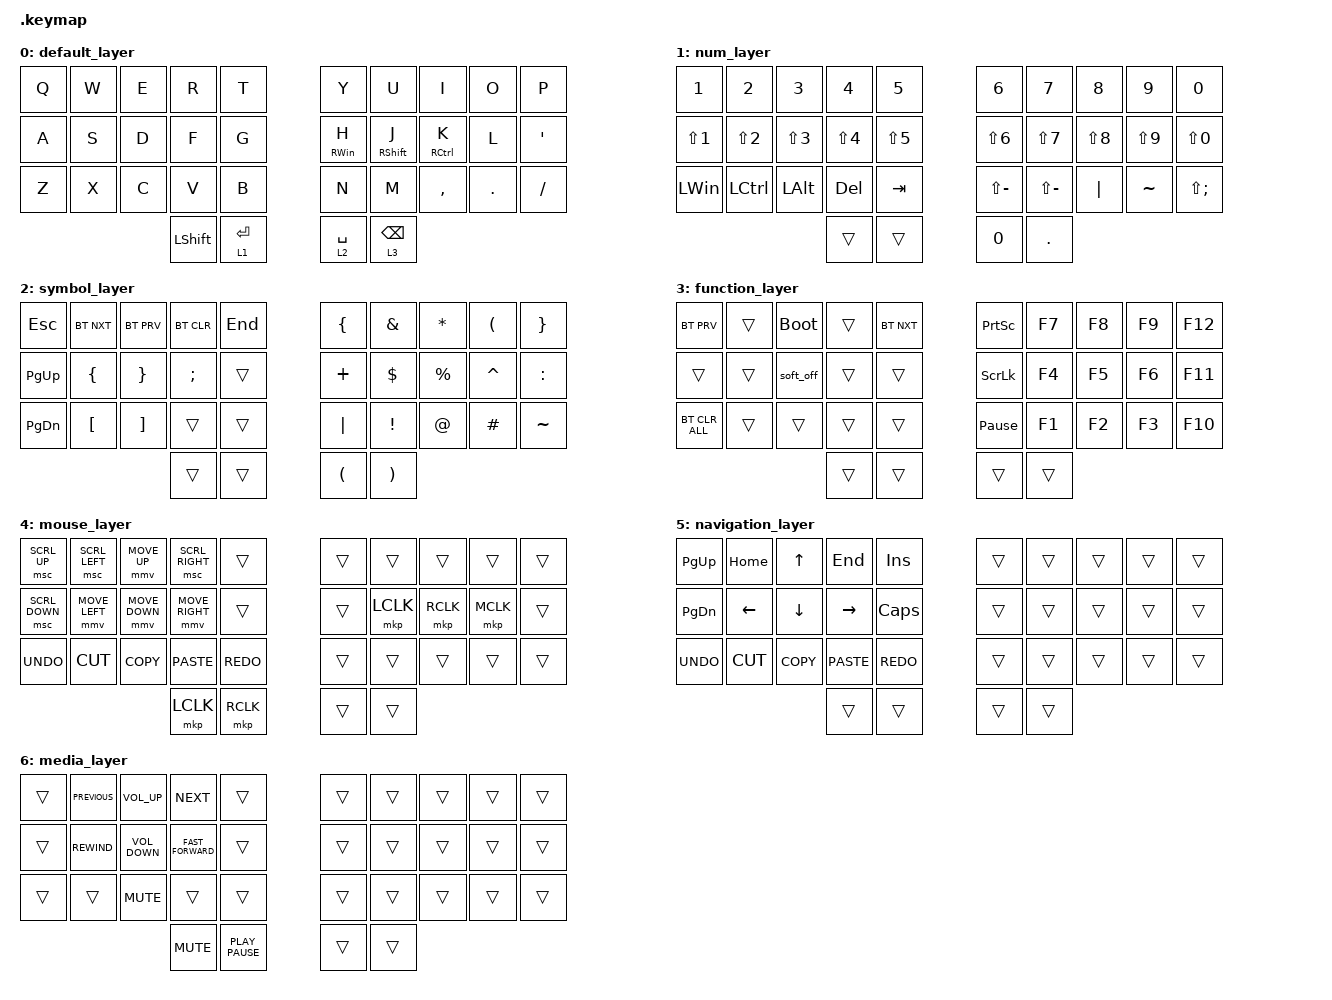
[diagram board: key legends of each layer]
#define ZMK_POINTING_DEFAULT_MOVE_VAL 1200  // default: 600
#define ZMK_POINTING_DEFAULT_SCRL_VAL 20    // default: 10

#include <dt-bindings/zmk/mouse.h>
#include <behaviors.dtsi>
#include <dt-bindings/zmk/bt.h>
#include <dt-bindings/zmk/keys.h>
#include <dt-bindings/zmk/pointing.h>

&mt {
    tapping-term-ms = <120>;
    flavor = "tap-preferred";
};

/ {
    combos {
        compatible = "zmk,combos";

        delete_combo2 {
            bindings = <&kp PRINTSCREEN>;
            key-positions = <9 19>;
            layers = <0>;
        };

        minus_combo {
            bindings = <&kp MINUS>;
            key-positions = <32 33>;
            layers = <1>;
        };

        undo_combo {
            bindings = <&kp LC(Z)>;
            key-positions = <20 21>;
            layers = <1>;
        };

        tab_combo {
            bindings = <&lt 3 TAB>;
            key-positions = <30 31>;
            layers = <0>;
        };

        escape_combo {
            bindings = <&kp ESC>;
            key-positions = <0 10>;
            layers = <0>;
        };

        delete_comb {
            bindings = <&lt 6 DELETE>;
            key-positions = <33 32>;
            layers = <0>;
        };

        tab2_combo {
            bindings = <&kp TAB>;
            key-positions = <10 11>;
        };

        copy_combo {
            bindings = <&kp LC(K_COPY)>;
            key-positions = <22 23>;
        };

        paste_combo {
            bindings = <&kp LC(K_PASTE)>;
            key-positions = <23 24>;
        };

        cut_combo {
            bindings = <&kp LC(K_CUT)>;
            key-positions = <21 22>;
        };

        F5_combo {
            bindings = <&kp F5>;
            key-positions = <17 7>;
        };

        prtscn_combo {
            bindings = <&kp PRINTSCREEN>;
            key-positions = <9 19>;
        };

        underscore_combo {
            bindings = <&kp UNDERSCORE>;
            key-positions = <32 33>;
            layers = <2>;
        };

        middle_click_combo {
            bindings = <&mkp MCLK>;
            key-positions = <30 31>;
            layers = <4>;
        };

        pin_combo {
            bindings = <&pin_macro>;
            key-positions = <30 33 31 32>;
        };
    };

    macros {
        pin_macro: pin_macro {
            compatible = "zmk,behavior-macro";
            #binding-cells = <0>;
            bindings = <&kp LCTRL &kp LEFT_ALT &kp DEL>;
            label = "PIN_MACRO";
        };
    };

    keymap {
        compatible = "zmk,keymap";

        default_layer {
            // -----------------------------------------------------------------------------------------
            // |  TAB |  Q  |  W  |  E  |  R  |  T  |   |  Y  |  U   |  I  |  O  |  P  | BSPC |
            // | CTRL |  A  |  S  |  D  |  F  |  G  |   |  H  |  J   |  K  |  L  |  ;  |  '   |
            // | SHFT |  Z  |  X  |  C  |  V  |  B  |   |  N  |  M   |  ,  |  .  |  /  | ESC  |
            //                    | GUI | LWR | SPC |   | ENT | RSE  | ALT |

            bindings = <
&kp Q  &kp W  &kp E  &kp R       &kp T          &kp Y            &kp U              &kp I                &kp O       &kp P
&kp A  &kp S  &kp D  &kp F       &kp G          &mt RIGHT_WIN H  &mt RIGHT_SHIFT J  &mt RIGHT_CONTROL K  &kp L       &kp APOS
&kp Z  &kp X  &kp C  &kp V       &kp B          &kp N            &kp M              &kp COMMA            &kp PERIOD  &kp SLASH
                     &kp LSHIFT  &lt 1 ENTER    &lt 2 SPACE      &lt 3 BACKSPACE
            >;
        };

        num_layer {
            // -----------------------------------------------------------------------------------------
            // |  TAB |  1  |  2  |  3  |  4  |  5  |   |  6  |  7  |  8  |  9  |  0  | BSPC |
            // | BTCLR| BT1 | BT2 | BT3 | BT4 | BT5 |   | LFT | DWN |  UP | RGT |     |      |
            // | SHFT |     |     |     |     |     |   |     |     |     |     |     |      |
            //                    | GUI |     | SPC |   | ENT |     | ALT |

            bindings = <
&kp NUMBER_1      &kp NUMBER_2      &kp NUMBER_3      &kp NUMBER_4      &kp N5        &kp NUMBER_6      &kp N7         &kp N8      &kp N9      &kp N0
&kp LS(NUMBER_1)  &kp LS(NUMBER_2)  &kp LS(NUMBER_3)  &kp LS(NUMBER_4)  &kp LS(N5)    &kp LS(NUMBER_6)  &kp LS(N7)     &kp LS(N8)  &kp LS(N9)  &kp LS(N0)
&kp LEFT_WIN      &kp LEFT_CONTROL  &kp LEFT_ALT      &kp DELETE        &kp TAB       &kp LS(MINUS)     &kp LS(MINUS)  &kp PIPE    &kp TILDE   &kp LS(SEMI)
                                                      &trans            &trans        &kp N0            &kp PERIOD
            >;
        };

        symbol_layer {
            bindings = <
&kp ESCAPE     &bt BT_NXT        &bt BT_PRV         &bt BT_CLR  &kp END    &kp LEFT_BRACE        &kp AMPERSAND          &kp ASTERISK  &kp LEFT_PARENTHESIS  &kp RIGHT_BRACE
&kp PG_UP      &kp LEFT_BRACE    &kp RIGHT_BRACE    &kp SEMI    &trans     &kp PLUS              &kp DOLLAR             &kp PERCENT   &kp CARET             &kp COLON
&kp PAGE_DOWN  &kp LEFT_BRACKET  &kp RIGHT_BRACKET  &trans      &trans     &kp PIPE              &kp EXCLAMATION        &kp AT_SIGN   &kp HASH              &kp TILDE
                                                    &trans      &trans     &kp LEFT_PARENTHESIS  &kp RIGHT_PARENTHESIS
            >;
        };

        function_layer {
            bindings = <
&bt BT_PRV      &trans  &bootloader  &trans  &bt BT_NXT    &kp PRINTSCREEN  &kp F7  &kp F8  &kp F9  &kp F12
&trans          &trans  &soft_off    &trans  &trans        &kp SCROLLLOCK   &kp F4  &kp F5  &kp F6  &kp F11
&bt BT_CLR_ALL  &trans  &trans       &trans  &trans        &kp PAUSE_BREAK  &kp F1  &kp F2  &kp F3  &kp F10
                                     &trans  &trans        &trans           &trans
            >;
        };

        mouse_layer {
            bindings = <
&msc SCRL_UP    &msc SCRL_LEFT  &mmv MOVE_UP    &msc SCRL_RIGHT  &trans        &trans  &trans     &trans     &trans     &trans
&msc SCRL_DOWN  &mmv MOVE_LEFT  &mmv MOVE_DOWN  &mmv MOVE_RIGHT  &trans        &trans  &mkp LCLK  &mkp RCLK  &mkp MCLK  &trans
&kp K_UNDO      &kp K_CUT       &kp K_COPY      &kp K_PASTE      &kp K_REDO    &trans  &trans     &trans     &trans     &trans
                                                &mkp LCLK        &mkp RCLK     &trans  &trans
            >;
        };

        navigation_layer {
            bindings = <
&kp PAGE_UP    &kp HOME        &kp UP_ARROW    &kp END      &kp INSERT      &trans  &trans  &trans  &trans  &trans
&kp PAGE_DOWN  &kp LEFT_ARROW  &kp DOWN_ARROW  &kp RIGHT    &kp CAPSLOCK    &trans  &trans  &trans  &trans  &trans
&kp K_UNDO     &kp K_CUT       &kp K_COPY      &kp K_PASTE  &kp K_REDO      &trans  &trans  &trans  &trans  &trans
                                               &trans       &trans          &trans  &trans
            >;
        };

        media_layer {
            bindings = <
&trans  &kp K_PREVIOUS  &kp C_VOLUME_UP    &kp K_NEXT          &trans              &trans  &trans  &trans  &trans  &trans
&trans  &kp C_REWIND    &kp C_VOLUME_DOWN  &kp C_FAST_FORWARD  &trans              &trans  &trans  &trans  &trans  &trans
&trans  &trans          &kp K_MUTE         &trans              &trans              &trans  &trans  &trans  &trans  &trans
                                           &kp K_MUTE          &kp K_PLAY_PAUSE    &trans  &trans
            >;
        };
    };
};

